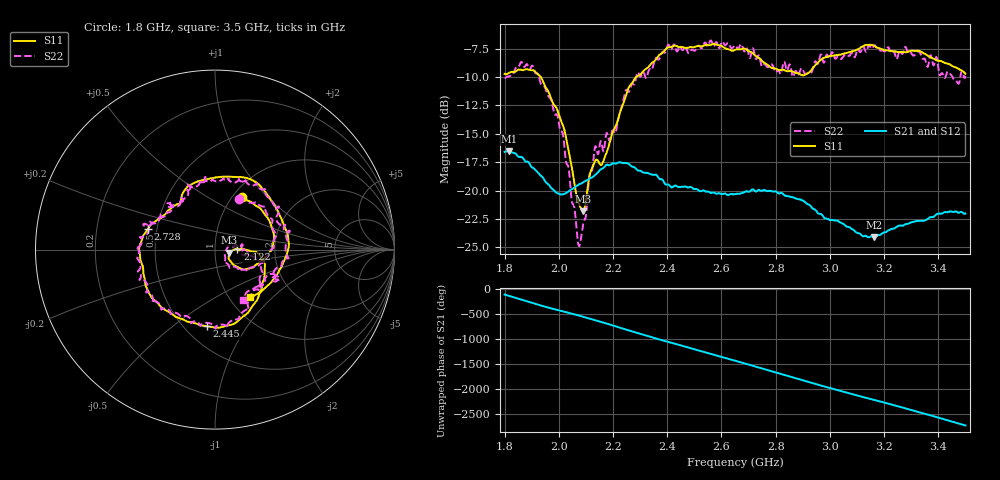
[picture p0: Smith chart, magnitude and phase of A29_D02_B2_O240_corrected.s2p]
! Created with skrf 1.9.0 (http://scikit-rf.org).
# Hz S RI R 50.0
!freq ReS11 ImS11 ReS21 ImS21 ReS12 ImS12 ReS22 ImS22
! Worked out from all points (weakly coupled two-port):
!   1601 points, 1.8 GHz to 3.5 GHz, reference 50 ohm
!   highest |S21| = -16.53 dB at 1.817 GHz (marker M1); lowest = -24.1 dB at 3.162 GHz (marker M2)
!   lowest |S11| = -21.8 dB at 2.09 GHz (marker M3), VSWR 1.18, Z = 58.5 - j2.12 ohm
!   |S11| at or under -10 dB: 1.933 GHz to 2.285 GHz (351.1 MHz wide, 16.6 % of centre)
!   |S22| runs from -24.9 to -6.8 dB; largest |S21 - S12| = 0.0025
!   S11 on the Smith chart (normalised r, x): 1.8 GHz: 1.11, +0.72; 2.122 GHz: 1.29, +0.01; 2.445 GHz: 0.64, -0.67; 2.728 GHz: 0.45, +0.12; 3.5 GHz: 1.25, -0.73
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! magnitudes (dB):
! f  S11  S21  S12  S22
! 1.8 GHz  -9.7  -16.6  -16.6  -10.1
! 1.817 GHz  -9.6  -16.5  -16.5  -9.9
! 1.902 GHz  -9.4  -18.0  -17.9  -9.0
! 1.968 GHz  -11.7  -19.6  -19.7  -11.9
! 2.015 GHz  -14.2  -20.3  -20.3  -15.0
! 2.071 GHz  -20.9  -19.5  -19.5  -24.6
! 2.084 GHz  -21.7  -19.4  -19.3  -23.9
! 2.09 GHz  -21.8  -19.3  -19.3  -22.9
! 2.122 GHz  -18.1  -18.8  -18.8  -18.3
! 2.136 GHz  -17.3  -18.6  -18.6  -16.1
! 2.164 GHz  -17.4  -18.0  -18.0  -16.5
! 2.21 GHz  -14.3  -17.6  -17.6  -14.9
! 2.247 GHz  -11.6  -17.6  -17.6  -11.2
! 2.367 GHz  -8.1  -18.9  -18.8  -8.5
! 2.445 GHz  -7.4  -19.7  -19.7  -7.3
! 2.65 GHz  -7.6  -20.3  -20.3  -7.2
! 2.728 GHz  -8.2  -20.1  -20.1  -8.4
! 2.812 GHz  -9.4  -20.3  -20.1  -9.4
! 2.934 GHz  -9.3  -21.5  -21.5  -9.5
! 3.162 GHz  -7.2  -24.1  -24.1  -7.2
! 3.217 GHz  -7.7  -23.5  -23.5  -7.4
! 3.5 GHz  -9.7  -22.0  -22.0  -9.9
